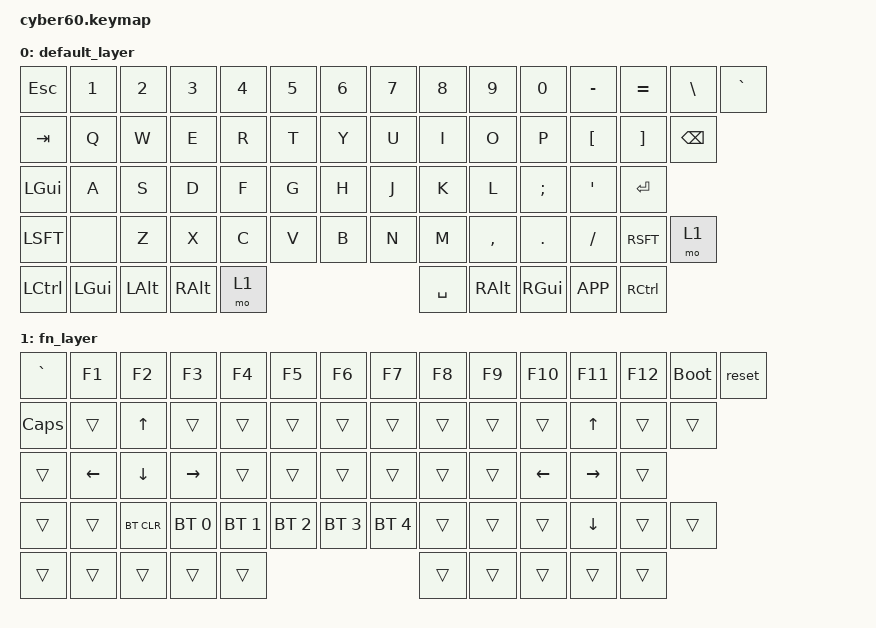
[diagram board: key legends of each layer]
#include <behaviors.dtsi>
#include <dt-bindings/zmk/keys.h>
#include <dt-bindings/zmk/bt.h>

/ {
	keymap {
		compatible = "zmk,keymap";

		default_layer {
// ------------------------------------------------------------------------------------------
// | ESC |  1  |  2  |  3  |  4  |  5  |  6  |  7  |  8  |  9  |  0  |  -  |  =  | "|" |  ~ |
// | TAB  |  Q  |  W  |  E  |  R  |  T  |  Y  |  U  |  I  |  O  |  P  |  [  |  ]  |   BKSP  |
// | CAPS  |  A  |  S  |  D  |  F  |  G  |  H  |  J  |  K  |  L  |  ;  |  '  |     ENTER    |
// | SHIFT |none| Z |  X  |  C  |  V  |  B  |  N  |  M  |  ,  |  .  |  /  |    Shift   | FN |
// |  LCTL  |  LWIN  |  LALT  |  RALT  | FN |     SPACE     |  RALT |  RWIN | RMENU | RCTRL |
// ------------------------------------------------------------------------------------------
			bindings = <
	&kp ESC		&kp NUM_1 	&kp NUM_2	&kp NUM_3 	&kp NUM_4 &kp NUM_5 &kp NUM_6 	&kp NUM_7 	&kp NUM_8 &kp NUM_9	&kp NUM_0	&kp MINUS	&kp EQL  	&kp BSLH	&kp GRAV
	&kp TAB  	&kp   Q   	&kp   W   	&kp   E   	&kp   R   &kp   T   &kp   Y   	&kp   U   	&kp   I   &kp   O   &kp   P   	&kp LBKT 	&kp RBKT	&kp BKSP
	&kp LGUI 	&kp   A   	&kp   S   	&kp   D   	&kp   F   &kp   G   &kp   H   	&kp   J   	&kp   K   &kp   L   &kp  SCLN  	&kp  QUOT   &kp RET
	&kp LSFT 	&none		&kp   Z   	&kp   X   	&kp   C   &kp   V   &kp   B   	&kp   N   	&kp   M   &kp  CMMA &kp  DOT  	&kp  FSLH	&kp RSFT 	&mo 1
	&kp LCTL 	&kp   LGUI  &kp   LALT				&kp RALT				&mo 1				&kp  SPC  &kp  RALT	&kp  RGUI 	&kp K_APP	&kp  RCTL		
			>;
		};
			fn_layer {
			bindings = <
	&kp GRAV 	&kp F1		&kp F2 	 		&kp F3			&kp F4			&kp F5			&kp F6	&kp F7	&kp F8			&kp F9		&kp F10		&kp F11		&kp F12		&bootloader	&reset
	&kp CLCK	&trans   	&kp UP   		&trans   		&trans  		&trans			&trans	&trans	&trans			&trans		&trans		&kp UP		&trans		&trans
	&trans 		&kp LEFT   	&kp DOWN		&kp RIGHT		&trans			&trans			&trans	&trans	&trans			&trans		&kp LEFT	&kp RIGHT	&trans
	&trans 		&trans   	&bt BT_CLR   	&bt BT_SEL 0   	&bt BT_SEL 1  	&bt BT_SEL 2	&bt BT_SEL 3	&bt BT_SEL 4	&trans		&trans		&trans		&kp DOWN	&trans		&trans
	&trans 		&trans   	&trans             				&trans			&trans			&trans  		&trans  		&trans		&trans		&trans		
			>;
		};
	};
};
